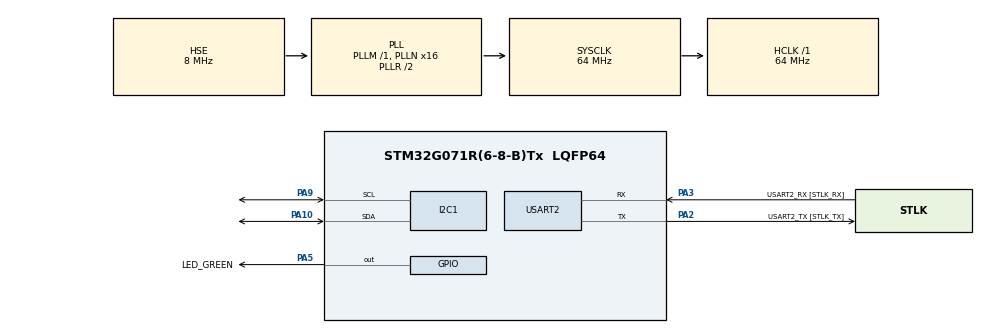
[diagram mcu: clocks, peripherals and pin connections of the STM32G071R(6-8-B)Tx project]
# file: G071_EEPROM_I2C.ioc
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I2C1.Timing=0x10707DBC
Mcu.Family=STM32G0
Mcu.Name=STM32G071R(6-8-B)Tx
Mcu.Package=LQFP64
PA10.GPIO_Pu=GPIO_PULLUP
PA10.Mode=I2C
PA10.Signal=I2C1_SDA
PA13.GPIO_Label=TMS
PA13.Mode=Serial_Wire
PA13.Signal=SYS_SWDIO
PA14-BOOT0.GPIO_Label=TCK
PA14-BOOT0.Mode=Serial_Wire
PA14-BOOT0.Signal=SYS_SWCLK
PA2.GPIO_Label=USART2_TX [STLK_TX]
PA2.GPIO_PuPd=GPIO_PULLUP
PA2.Mode=Asynchronous
PA2.Signal=USART2_TX
PA3.GPIO_Label=USART2_RX [STLK_RX]
PA3.GPIO_PuPd=GPIO_PULLUP
PA3.Mode=Asynchronous
PA3.Signal=USART2_RX
PA5.GPIO_Label=LED_GREEN
PA5.GPIO_Speed=GPIO_SPEED_FREQ_HIGH
PA5.Signal=GPIO_Output
PA9.GPIO_Pu=GPIO_PULLUP
PA9.Mode=I2C
PA9.Signal=I2C1_SCL
PC13.Mode=SYS_WakeUp1
PC13.Signal=SYS_WKUP2
PC14-OSC32_IN\ (PC14).Mode=LSE-External-Oscillator
PC14-OSC32_IN\ (PC14).Signal=RCC_OSC32_IN
PC15-OSC32_OUT\ (PC15).Mode=LSE-External-Oscillator
PC15-OSC32_OUT\ (PC15).Signal=RCC_OSC32_OUT
PF0-OSC_IN\ (PF0).GPIO_Label=MCO
PF0-OSC_IN\ (PF0).Mode=HSE-External-Clock-Source
PF0-OSC_IN\ (PF0).Signal=RCC_OSC_IN
ProjectManager.HeapSize=0x200
ProjectManager.StackSize=0x400
ProjectManager.TargetToolchain=STM32CubeIDE
RCC.ADCFreq_Value=64000000
RCC.AHBFreq_Value=64000000
RCC.CortexFreq_Value=64000000
RCC.EXTERNAL_CLOCK_VALUE=12288000
RCC.HCLKFreq_Value=64000000
RCC.HSE_VALUE=8000000
RCC.HSI_VALUE=16000000
RCC.PLLN=16
RCC.PLLSourceVirtual=RCC_PLLSOURCE_HSE
RCC.SYSCLKFreq_VALUE=64000000
RCC.SYSCLKSource=RCC_SYSCLKSOURCE_PLLCLK
RCC.VCOOutputFreq_Value=128000000
USART2.VirtualMode-Asynchronous=VM_ASYNC
VP_SYS_VS_DBSignals.Mode=DisableDeadBatterySignals
board=NUCLEO-G071RB

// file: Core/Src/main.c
/* USER CODE BEGIN Header */
/**
  ******************************************************************************
  * @file           : main.c
  * @brief          : Main program body
  ******************************************************************************
  * @attention
  *
  * Copyright (c) 2023 STMicroelectronics.
  * All rights reserved.
  *
  * This software is licensed under terms that can be found in the LICENSE file
  * in the root directory of this software component.
  * If no LICENSE file comes with this software, it is provided AS-IS.
  * update 6.12.2023 send to git
  ******************************************************************************
  */
/* USER CODE END Header */
#include "main.h"

/* USER CODE BEGIN Includes */
#include "string.h"
#include "EEPROM.h"
/* USER CODE END Includes */

I2C_HandleTypeDef hi2c1;

UART_HandleTypeDef huart2;

void SystemClock_Config(void);
static void MX_GPIO_Init(void);
static void MX_USART2_UART_Init(void);
static void MX_I2C1_Init(void);

/* USER CODE BEGIN 0 */
#define DEV_ADDR 0xaa
uint8_t dataw1[] = "hello world from EEPROM";
uint8_t dataw2[] = "This is the second string from EEPROM";
float dataw3 = 1234.5678;

uint8_t datar1[100];
uint8_t datar2[100];
float datar3;

int16_t AddrEprom= 0xAA;
int8_t dataRead[100];
/* USER CODE END 0 */

int main(void)
{

  /* MCU Configuration--------------------------------------------------------*/

  /* Reset of all peripherals, Initializes the Flash interface and the Systick. */
  HAL_Init();

  /* Configure the system clock */
  SystemClock_Config();

  /* Initialize all configured peripherals */
  MX_GPIO_Init();
  MX_USART2_UART_Init();
  MX_I2C1_Init();
  /* USER CODE BEGIN 2 */

  for (int i=0;i<512; i++)
  {
	  EEPROM_PageErase(i);

  }

  EEPROM_Write(3, 0, dataw1, strlen((char *)dataw1));

  EEPROM_Write(5, 20, dataw2, strlen((char *)dataw2));

  EEPROM_Write_NUM (6, 0, dataw3);

  EEPROM_Read(3, 0, datar1, 50);

  EEPROM_Read(5, 15, datar2, 50);

  datar3 = EEPROM_Read_NUM (6, 0);
  /* USER CODE END 2 */

  /* Infinite loop */
  while (1)
  {

  }
}

void SystemClock_Config(void)
{
  RCC_OscInitTypeDef RCC_OscInitStruct = {0};
  RCC_ClkInitTypeDef RCC_ClkInitStruct = {0};

  /** Configure the main internal regulator output voltage
  */
  HAL_PWREx_ControlVoltageScaling(PWR_REGULATOR_VOLTAGE_SCALE1);

  /** Initializes the RCC Oscillators according to the specified parameters
  * in the RCC_OscInitTypeDef structure.
  */
  RCC_OscInitStruct.OscillatorType = RCC_OSCILLATORTYPE_HSE;
  RCC_OscInitStruct.HSEState = RCC_HSE_BYPASS;
  RCC_OscInitStruct.PLL.PLLState = RCC_PLL_ON;
  RCC_OscInitStruct.PLL.PLLSource = RCC_PLLSOURCE_HSE;
  RCC_OscInitStruct.PLL.PLLM = RCC_PLLM_DIV1;
  RCC_OscInitStruct.PLL.PLLN = 16;
  RCC_OscInitStruct.PLL.PLLP = RCC_PLLP_DIV2;
  RCC_OscInitStruct.PLL.PLLQ = RCC_PLLQ_DIV2;
  RCC_OscInitStruct.PLL.PLLR = RCC_PLLR_DIV2;
  if (HAL_RCC_OscConfig(&RCC_OscInitStruct) != HAL_OK)
  {
    Error_Handler();
  }

  /** Initializes the CPU, AHB and APB buses clocks
  */
  RCC_ClkInitStruct.ClockType = RCC_CLOCKTYPE_HCLK|RCC_CLOCKTYPE_SYSCLK
                              |RCC_CLOCKTYPE_PCLK1;
  RCC_ClkInitStruct.SYSCLKSource = RCC_SYSCLKSOURCE_PLLCLK;
  RCC_ClkInitStruct.AHBCLKDivider = RCC_SYSCLK_DIV1;
  RCC_ClkInitStruct.APB1CLKDivider = RCC_HCLK_DIV1;

  if (HAL_RCC_ClockConfig(&RCC_ClkInitStruct, FLASH_LATENCY_2) != HAL_OK)
  {
    Error_Handler();
  }
}

static void MX_I2C1_Init(void)
{

  hi2c1.Instance = I2C1;
  hi2c1.Init.Timing = 0x10707DBC;
  hi2c1.Init.OwnAddress1 = 0;
  hi2c1.Init.AddressingMode = I2C_ADDRESSINGMODE_7BIT;
  hi2c1.Init.DualAddressMode = I2C_DUALADDRESS_DISABLE;
  hi2c1.Init.OwnAddress2 = 0;
  hi2c1.Init.OwnAddress2Masks = I2C_OA2_NOMASK;
  hi2c1.Init.GeneralCallMode = I2C_GENERALCALL_DISABLE;
  hi2c1.Init.NoStretchMode = I2C_NOSTRETCH_DISABLE;
  if (HAL_I2C_Init(&hi2c1) != HAL_OK)
  {
    Error_Handler();
  }

  /** Configure Analogue filter
  */
  if (HAL_I2CEx_ConfigAnalogFilter(&hi2c1, I2C_ANALOGFILTER_ENABLE) != HAL_OK)
  {
    Error_Handler();
  }

  /** Configure Digital filter
  */
  if (HAL_I2CEx_ConfigDigitalFilter(&hi2c1, 0) != HAL_OK)
  {
    Error_Handler();
  }

}

static void MX_USART2_UART_Init(void)
{

  huart2.Instance = USART2;
  huart2.Init.BaudRate = 115200;
  huart2.Init.WordLength = UART_WORDLENGTH_8B;
  huart2.Init.StopBits = UART_STOPBITS_1;
  huart2.Init.Parity = UART_PARITY_NONE;
  huart2.Init.Mode = UART_MODE_TX_RX;
  huart2.Init.HwFlowCtl = UART_HWCONTROL_NONE;
  huart2.Init.OverSampling = UART_OVERSAMPLING_16;
  huart2.Init.OneBitSampling = UART_ONE_BIT_SAMPLE_DISABLE;
  huart2.Init.ClockPrescaler = UART_PRESCALER_DIV1;
  huart2.AdvancedInit.AdvFeatureInit = UART_ADVFEATURE_NO_INIT;
  if (HAL_UART_Init(&huart2) != HAL_OK)
  {
    Error_Handler();
  }
  if (HAL_UARTEx_SetTxFifoThreshold(&huart2, UART_TXFIFO_THRESHOLD_1_8) != HAL_OK)
  {
    Error_Handler();
  }
  if (HAL_UARTEx_SetRxFifoThreshold(&huart2, UART_RXFIFO_THRESHOLD_1_8) != HAL_OK)
  {
    Error_Handler();
  }
  if (HAL_UARTEx_DisableFifoMode(&huart2) != HAL_OK)
  {
    Error_Handler();
  }

}

static void MX_GPIO_Init(void)
{
  GPIO_InitTypeDef GPIO_InitStruct = {0};

  /* GPIO Ports Clock Enable */
  __HAL_RCC_GPIOC_CLK_ENABLE();
  __HAL_RCC_GPIOF_CLK_ENABLE();
  __HAL_RCC_GPIOA_CLK_ENABLE();

  /*Configure GPIO pin Output Level */
  HAL_GPIO_WritePin(LED_GREEN_GPIO_Port, LED_GREEN_Pin, GPIO_PIN_RESET);

  /*Configure GPIO pin : LED_GREEN_Pin */
  GPIO_InitStruct.Pin = LED_GREEN_Pin;
  GPIO_InitStruct.Mode = GPIO_MODE_OUTPUT_PP;
  GPIO_InitStruct.Pull = GPIO_NOPULL;
  GPIO_InitStruct.Speed = GPIO_SPEED_FREQ_HIGH;
  HAL_GPIO_Init(LED_GREEN_GPIO_Port, &GPIO_InitStruct);

}

void Error_Handler(void)
{
  __disable_irq();
  while (1)
  {
  }
}
